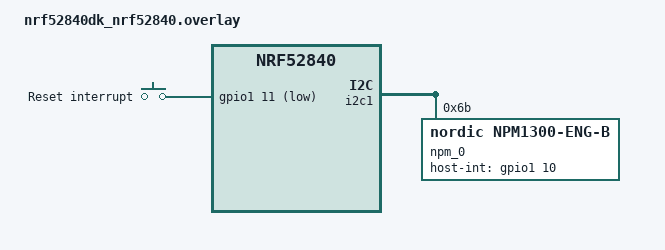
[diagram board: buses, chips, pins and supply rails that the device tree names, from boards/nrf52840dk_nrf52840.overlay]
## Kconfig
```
#
# Copyright (c) 2022 Nordic Semiconductor ASA
#
# SPDX-License-Identifier: LicenseRef-Nordic-5-Clause
#

mainmenu "PMIC example: Watchdog"

choice
	bool "Watchdog mode selection"

config TESTCASE_WATCHDOG_MODE_WARNING
	bool "Set watchdog to warning mode"

config TESTCASE_WATCHDOG_MODE_RESET
	bool "Set watchdog to reset mode"

endchoice

source "Kconfig.zephyr"
```

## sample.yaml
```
sample:
  description: Sample for nPM1300 PMIC TIMER WATCHDOG
  name: nPM1300 PMIC TIMER WATCHDOG

common:
  integration_platforms:
    - nrf5340dk_nrf5340_cpuapp
    - nrf52840dk_nrf52840
  platform_allow: nrf5340dk_nrf5340_cpuapp nrf52840dk_nrf52840
  tags: pmic

tests:
  sample.pmic.timer_watchdog_simple_eng_b:
    extra_args: CONFIG_NPMX_DEVICE_NPM1300_ENG_B=y
    timeout: 30
    harness: console
    harness_config:
      fixture: nPM1300_setup_eng_b
      type: multi_line
      ordered: true
      regex:
        - "PMIC device ok"
        - "Watchdog is being kicked, press any key to stop it."

  sample.pmic.timer_watchdog_advanced_eng_b:
    extra_args: CONFIG_NPMX_DEVICE_NPM1300_ENG_B=y
    harness: console
    harness_config:
      fixture: nPM1300_setup_and_manual_action_eng_b
      type: multi_line
      ordered: true
      regex:
        - "PMIC device ok"
        - "Watchdog is being kicked, press any key to stop it."
        - "Kicking stopped!"
        - "Wait for watchdog warning interrupt."
        - "Watchdog warning callback"
        - "Warning after ([0-9]{3}) ms"
        - "SHIPHOLD"
        - "Watchdog Timeout Warn"
        - "Reset after ([0-9]{2}) ms"
```

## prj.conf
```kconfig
#
# Copyright (c) 2022 Nordic Semiconductor ASA
#
# SPDX-License-Identifier: LicenseRef-Nordic-5-Clause
#

CONFIG_SERIAL=y
CONFIG_CONSOLE=y
CONFIG_UART_CONSOLE=y
CONFIG_CONSOLE_GETCHAR=y
CONFIG_CONSOLE_SUBSYS=y

CONFIG_I2C=y
CONFIG_NPMX=y
CONFIG_NPMX_DEVICE_NPM1300_ENG_B=y
CONFIG_LOG=y
CONFIG_NPMX_LOG_LEVEL_DBG=y
CONFIG_ASSERT=y

# Core Dump configuraion
CONFIG_DEBUG_COREDUMP=y
CONFIG_DEBUG_COREDUMP_BACKEND_LOGGING=y
```

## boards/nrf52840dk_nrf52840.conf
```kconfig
#
# Copyright (c) 2023 Nordic Semiconductor ASA
#
# SPDX-License-Identifier: LicenseRef-Nordic-5-Clause
#
```

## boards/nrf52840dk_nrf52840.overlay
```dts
/*
 * Copyright (c) 2023 Nordic Semiconductor ASA
 *
 * SPDX-License-Identifier: LicenseRef-Nordic-5-Clause
 */

&i2c1 {
	compatible = "nordic,nrf-twim";
	status = "okay";

	npm_0: npm1300@6b {
		status = "okay";
		compatible = "nordic,npm1300-eng-b";
		reg = <0x6b>;
		host-int-gpios = <&gpio1 10 (GPIO_PULL_DOWN | GPIO_ACTIVE_HIGH)>;
		pmic-int-pin = <0>;
		pmic-reset-pin = <1>;
	};
};

&i2c1_default {
	group1 {
		psels = <NRF_PSEL(TWIM_SDA, 0, 26)>, <NRF_PSEL(TWIM_SCL, 0, 27)>;
		bias-pull-up;
	};
};

/ {
	buttons {
		compatible = "gpio-keys";
		irq_res0: irq_res_0 {
			gpios = <&gpio1 11 (GPIO_PULL_UP | GPIO_ACTIVE_LOW)>;
			label = "Reset interrupt";
		};
	};

	aliases {
		irqres0 = &irq_res0;
	};
};
```

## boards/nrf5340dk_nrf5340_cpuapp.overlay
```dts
/*
 * Copyright (c) 2022 Nordic Semiconductor ASA
 *
 * SPDX-License-Identifier: LicenseRef-Nordic-5-Clause
 */

&i2c1 {
	compatible = "nordic,nrf-twim";
	status = "okay";

	// For this example faster i2c clock is required for faster events handling.
	clock-frequency = <400000>;

	npm_0: npm1300@6b {
		status = "okay";
		compatible = "nordic,npm1300-eng-b";
		reg = <0x6b>;
		host-int-gpios = <&gpio1 10 (GPIO_PULL_DOWN | GPIO_ACTIVE_HIGH)>;
		pmic-int-pin = <0>;
		pmic-reset-pin = <1>;
	};
};

&i2c1_default {
	group1 {
		bias-pull-up;
	};
};

/ {
	buttons {
		compatible = "gpio-keys";
		irq_res0: irq_res_0 {
			gpios = <&gpio1 11 (GPIO_PULL_UP | GPIO_ACTIVE_LOW)>;
			label = "Reset interrupt";
		};
	};

	aliases {
		irqres0 = &irq_res0;
	};
};
```

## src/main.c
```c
/*
 * Copyright (c) 2022 Nordic Semiconductor ASA
 *
 * SPDX-License-Identifier: LicenseRef-Nordic-5-Clause
 */

#include <zephyr/logging/log.h>
#include <zephyr/console/console.h>
#include <zephyr/drivers/gpio.h>
#include <npmx_core.h>
#include <npmx_driver.h>
#include <npmx_gpio.h>
#include <npmx_timer.h>

#define LOG_MODULE_NAME pmic_watchdog
LOG_MODULE_REGISTER(LOG_MODULE_NAME);

/** @brief Variable filled in @ref kicking_thread() when watchdog kicking stops. */
static volatile uint32_t start_time;

/** @brief Variable filled in @ref timer_callback() when watchdog warning occurs. */
static volatile uint32_t warning_time;

/** @brief Semaphore used to inform @ref kicking_thread() when to stop kicking the watchdog. */
K_SEM_DEFINE(stop_kick_sem, 0, 1);

/** @brief Stack used by kick_thread. */
K_THREAD_STACK_DEFINE(kick_stack, 1000);

/** @brief Kicking thread definition. */
struct k_thread kick_thread;

#if CONFIG_TESTCASE_WATCHDOG_MODE_WARNING
/** @brief Timer watchdog working in warning mode. */
#define TIMER_WATCHDOG_MODE NPMX_TIMER_MODE_WATCHDOG_WARNING
#elif CONFIG_TESTCASE_WATCHDOG_MODE_RESET
/** @brief Timer watchdog working in reset mode. */
#define TIMER_WATCHDOG_MODE NPMX_TIMER_MODE_WATCHDOG_RESET
#endif

/**
 * @brief Kicking thread function.
 *        In this function, the watchdog will be kicked each 100 ms
 *        until the user presses the irq_res on the console.
 *
 * @param[in] p1 Pointer to the @ref npmx_timer_t instance.
 * @param     p2 Unused.
 * @param     p3 Unused.
 */
static void kicking_thread(void *p1, void *p2, void *p3)
{
	ARG_UNUSED(p2);
	ARG_UNUSED(p3);

	/* Get timer instance from arguments list. */
	npmx_timer_t *timer_instance = (npmx_timer_t *)p1;

	/* If user pressed button on console, kicking stops. */
	while (k_sem_take(&stop_kick_sem, K_NO_WAIT) != 0) {
		k_msleep(100);
		/* Kick watchdog timer. */
		npmx_timer_task_trigger(timer_instance, NPMX_TIMER_TASK_KICK);
	}

	start_time = k_uptime_get_32();
	LOG_INF("Kicking stopped!");
	LOG_INF("Wait for watchdog warning interrupt.");
}

/**
 * @brief Callback function to be used when watchdog warning event occurs.
 *
 * @param[in] p_pm Pointer to the instance of nPM device.
 * @param[in] type Callback type. Should be @ref NPMX_CALLBACK_TYPE_EVENT_SHIPHOLD.
 * @param[in] mask Received event interrupt mask.
 */
static void timer_callback(npmx_instance_t *p_pm, npmx_callback_type_t type, uint8_t mask)
{
	warning_time = k_uptime_get_32();
	LOG_INF("Watchdog warning callback");

	/* Calculate elapsed time and print log info. */
	LOG_INF("Warning after %d ms", warning_time - start_time);

	/* Call generic callback to print interrupt data. */
	p_pm->generic_cb(p_pm, type, mask);
}

/**
 * @brief Reset callback function.
 *
 * @param[in] dev  Unused.
 * @param[in] cb   Unused.
 * @param[in] pins Unused.
 */
void reset_callback(const struct device *dev, struct gpio_callback *cb, uint32_t pins)
{
	ARG_UNUSED(dev);
	ARG_UNUSED(cb);
	ARG_UNUSED(pins);
	LOG_INF("Reset after %d ms\n", k_uptime_get_32() - warning_time);
}

/**
 * @brief Function for configuring GPIO interrupt to handle pulse falling edge
 *        and run @ref reset_callback().
 */
void configure_reset_interrupt(void)
{
	static const struct gpio_dt_spec irq_res =
		GPIO_DT_SPEC_GET_OR(DT_ALIAS(irqres0), gpios, { 0 });
	static struct gpio_callback irq_res_cb_data;
	int ret;

	if (!device_is_ready(irq_res.port)) {
		LOG_ERR("Error: irq_res device %s is not ready\n", irq_res.port->name);
		return;
	}

	ret = gpio_pin_configure_dt(&irq_res, GPIO_INPUT);
	if (ret != 0) {
		LOG_ERR("Error %d: failed to configure %s pin %d\n", ret, irq_res.port->name,
			irq_res.pin);
		return;
	}

	ret = gpio_pin_interrupt_configure_dt(&irq_res, GPIO_INT_EDGE_TO_ACTIVE);
	if (ret != 0) {
		LOG_ERR("Error %d: failed to configure interrupt on %s pin %d\n", ret,
			irq_res.port->name, irq_res.pin);
		return;
	}

	gpio_init_callback(&irq_res_cb_data, reset_callback, BIT(irq_res.pin));
	gpio_add_callback(irq_res.port, &irq_res_cb_data);
}

void main(void)
{
	const struct device *pmic_dev = DEVICE_DT_GET(DT_NODELABEL(npm_0));

	if (!device_is_ready(pmic_dev)) {
		LOG_INF("PMIC device is not ready");
		return;
	}

	LOG_INF("PMIC device ok");

	/* Get the pointer to npmx device. */
	npmx_instance_t *npmx_instance = npmx_driver_instance_get(pmic_dev);

	/* Configure host pin to handle falling edge on output reset pin. */
	configure_reset_interrupt();

	/* Get the pointer to TIMER instance. */
	npmx_timer_t *timer_instance = npmx_timer_get(npmx_instance, 0);

	/* Register SHIPHOLD callback. */
	npmx_core_register_cb(npmx_instance, timer_callback, NPMX_CALLBACK_TYPE_EVENT_SHIPHOLD);

	/* Enable watchdog interrupt. */
	npmx_core_event_interrupt_enable(npmx_instance, NPMX_EVENT_GROUP_SHIPHOLD,
					 NPMX_EVENT_GROUP_SHIPHOLD_WATCHDOG_MASK);

	/* Fill TIMER's configuration structure to work with watchdog mode. */
	npmx_timer_config_t timer_config = {
		.mode = TIMER_WATCHDOG_MODE, /* Watchdog mode. */
		.prescaler = NPMX_TIMER_PRESCALER_FAST, /* TIMER clock set to 512 Hz. */
		.compare_value = 244, /* TIMER counts to compare_value ticks, */
		/* expected total time is ((1/512) * compare_value). */
	};

	/* Set TIMER configuration. */
	npmx_timer_config_set(timer_instance, &timer_config);

	/* Save compare value data to internal TIMER's registers. */
	npmx_timer_task_trigger(timer_instance, NPMX_TIMER_TASK_STROBE);

	/* Enable TIMER to execute the interrupt. */
	npmx_timer_task_trigger(timer_instance, NPMX_TIMER_TASK_ENABLE);

	/* Create the new thread. */
	k_thread_create(&kick_thread, kick_stack, K_THREAD_STACK_SIZEOF(kick_stack), kicking_thread,
			timer_instance, NULL, NULL, 7, 0, K_NO_WAIT);

	/* Initialize console required to interact with the user.*/
	console_init();

	LOG_INF("Watchdog is being kicked, press any key to stop it.\n");

	while (1) {
		/* Wait for the user interaction. */
		uint8_t c = console_getchar();

		if (c) {
			/* Inform kicking thread to stop kicking. */
			k_sem_give(&stop_kick_sem);
			break;
		}
	}
}
```
